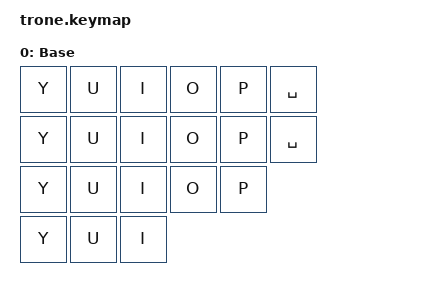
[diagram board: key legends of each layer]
/*
 *
 * SPDX-License-Identifier: MIT
 */

#include <behaviors.dtsi>
#include <dt-bindings/zmk/keys.h>

/ {
    keymap {
        compatible = "zmk,keymap";

        default_layer {
            label = " Base";
            bindings = <
            &kp Y &kp U &kp I &kp O &kp P &kp SPC
            &kp Y &kp U &kp I &kp O &kp P &kp SPC
            &kp Y &kp U &kp I &kp O &kp P
            &kp Y &kp U &kp I
            >;
        };
    };
};
